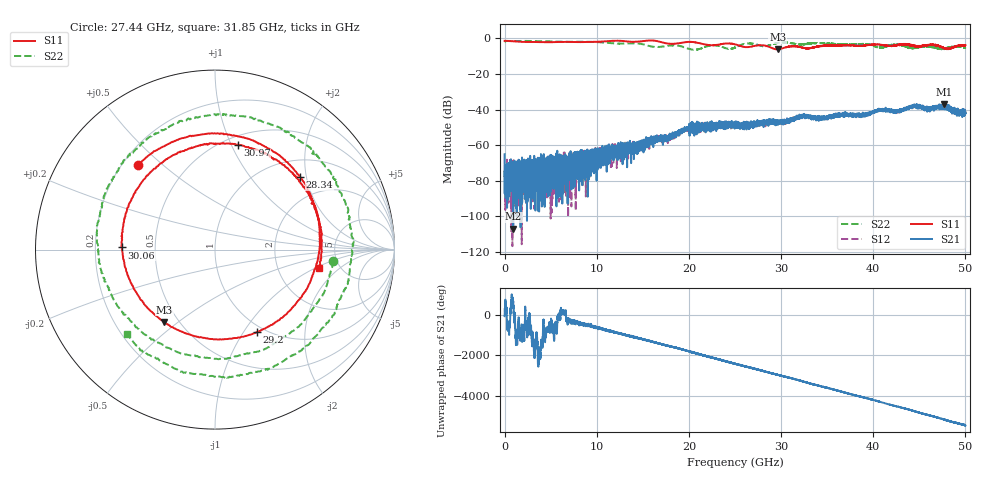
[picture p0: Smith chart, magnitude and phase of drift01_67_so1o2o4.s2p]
!Created with skrf (http://scikit-rf.org).
# Hz S RI R 50.0
!freq ReS11 ImS11 ReS21 ImS21 ReS12 ImS12 ReS22 ImS22
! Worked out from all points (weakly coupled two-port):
!   10001 points, 300 kHz to 50 GHz, reference 50 ohm
!   highest |S21| = -36.90 dB at 47.7 GHz (marker M1); lowest = -107.0 dB at 935.3 MHz (marker M2)
!   lowest |S11| = -6.2 dB at 29.64 GHz (marker M3), VSWR 2.94, Z = 21 - j22.4 ohm
!   |S11| at or under -10 dB: nowhere
!   |S22| runs from -6.4 to -1.4 dB; largest |S21 - S12| = 0.005
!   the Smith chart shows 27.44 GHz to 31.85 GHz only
!   S11 on the Smith chart (normalised r, x): 27.44 GHz: 0.26, +0.42; 28.34 GHz: 1.39, +1.84; 29.2 GHz: 0.92, -1.15; 30.06 GHz: 0.32, +0.01; 30.97 GHz: 0.58, +1.06; 31.85 GHz: 3.50, -1.12
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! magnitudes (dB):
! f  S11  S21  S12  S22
! 300 kHz  -1.3  -65.1  -74.5  -2.1
! 260.3 MHz  -1.4  -86.6  -74.5  -1.4
! 935.3 MHz  -1.5  -107.0  -73.3  -1.5
! 4.515 GHz  -2.1  -76.9  -67.4  -1.6
! 8.335 GHz  -2.0  -66.9  -71.8  -1.8
! 11 GHz  -1.6  -61.9  -66.8  -2.4
! 14.31 GHz  -1.8  -63.6  -61.3  -2.7
! 16.67 GHz  -1.6  -57.3  -56.4  -4.8
! 20.18 GHz  -1.9  -49.7  -50.8  -6.1
! 22.63 GHz  -3.8  -50.3  -49.2  -3.8
! 25 GHz  -3.3  -48.1  -48.4  -5.0
! 27.44 GHz  -3.9  -47.1  -48.6  -3.6
! 28.34 GHz  -4.1  -47.2  -46.1  -4.3
! 29.2 GHz  -5.8  -46.6  -47.5  -3.0
! 29.64 GHz  -6.2  -46.7  -47.2  -2.5
! 30.06 GHz  -5.7  -46.3  -47.0  -2.4
! 30.97 GHz  -4.5  -45.6  -46.1  -2.4
! 31.85 GHz  -4.6  -44.6  -44.2  -3.3
! 33.34 GHz  -5.2  -44.7  -44.0  -2.8
! 41.67 GHz  -4.3  -40.8  -40.8  -4.0
! 47.7 GHz  -5.4  -36.9  -38.2  -6.0
! 50 GHz  -3.9  -42.1  -42.4  -5.3
